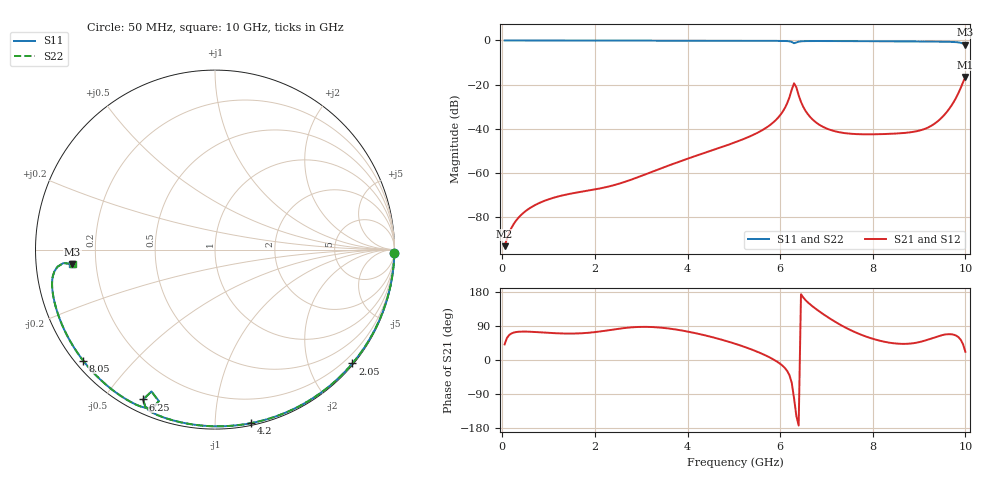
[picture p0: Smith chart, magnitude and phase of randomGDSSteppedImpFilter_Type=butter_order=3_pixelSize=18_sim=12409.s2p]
! freq	dB(S11)	phase(S11)	dB(S12)	phase(S12)
!  dB(S21)	phase(S21)	dB(S22)	phase(S22)
!S-par simulation data
#  GHz  S  DB  R 50
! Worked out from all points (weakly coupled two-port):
!   200 points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, 50 MHz to 10 GHz, reference 50 ohm
!   highest |S21| = -16.58 dB at 10 GHz (marker M1); lowest = -93.4 dB at 50 MHz (marker M2)
!   lowest |S11| = -2.0 dB at 10 GHz (marker M3), VSWR 8.91, Z = 5.62 - j2.52 ohm
!   |S11| at or under -10 dB: nowhere
!   |S22| runs from -2.0 to 0.0 dB; largest |S21 - S12| = 0
!   S11 on the Smith chart (normalised r, x): 50 MHz: open; 2.05 GHz: 0.03, -2.77; 4.2 GHz: 0.02, -1.23; 6.25 GHz: 0.05, -0.63; 8.05 GHz: 0.02, -0.36; 10 GHz: 0.11, -0.05
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0.05  -0.00 -1.0  -93.36 41.2  -93.36 41.2  -0.00 -1.0
0.35  -0.01 -6.9  -80.42 74.6  -80.42 74.6  -0.01 -6.9
0.9  -0.02 -17.6  -72.87 72.4  -72.87 72.4  -0.02 -17.6
1.75  -0.04 -34.0  -68.51 70.8  -68.51 70.8  -0.04 -34.0
2.05  -0.05 -39.6  -67.41 74.3  -67.41 74.3  -0.05 -39.6
3.4  -0.09 -64.3  -58.28 85.6  -58.28 85.6  -0.09 -64.3
4.2  -0.11 -78.3  -52.22 70.0  -52.22 70.0  -0.11 -78.3
5.05  -0.14 -92.8  -46.05 42.0  -46.05 42.0  -0.14 -92.8
5.6  -0.17 -102.0  -40.89 16.9  -40.89 16.9  -0.17 -102.0
5.9  -0.19 -107.2  -36.26 -1.8  -36.26 -1.8  -0.19 -107.2
6.1  -0.25 -111.2  -30.74 -20.8  -30.74 -20.8  -0.25 -111.2
6.25  -0.67 -115.6  -22.35 -59.9  -22.35 -59.9  -0.67 -115.6
6.3  -1.25 -114.1  -19.44 -100.8  -19.44 -100.8  -1.24 -114.1
6.5  -0.32 -114.0  -30.18 164.7  -30.18 164.7  -0.32 -114.0
6.7  -0.27 -118.0  -35.86 141.5  -35.86 141.5  -0.27 -118.0
7.2  -0.28 -126.4  -41.31 99.9  -41.31 99.9  -0.28 -126.4
8.05  -0.35 -139.9  -42.58 54.2  -42.58 54.2  -0.35 -139.9
8.35  -0.38 -144.7  -42.40 45.9  -42.40 45.9  -0.38 -144.7
8.95  -0.46 -154.5  -41.19 45.8  -41.19 45.8  -0.46 -154.5
9.35  -0.52 -161.4  -37.53 60.3  -37.53 60.3  -0.52 -161.4
9.7  -0.66 -168.3  -29.54 67.9  -29.54 67.9  -0.66 -168.3
10  -1.96 -174.2  -16.58 21.6  -16.58 21.6  -1.97 -174.2
